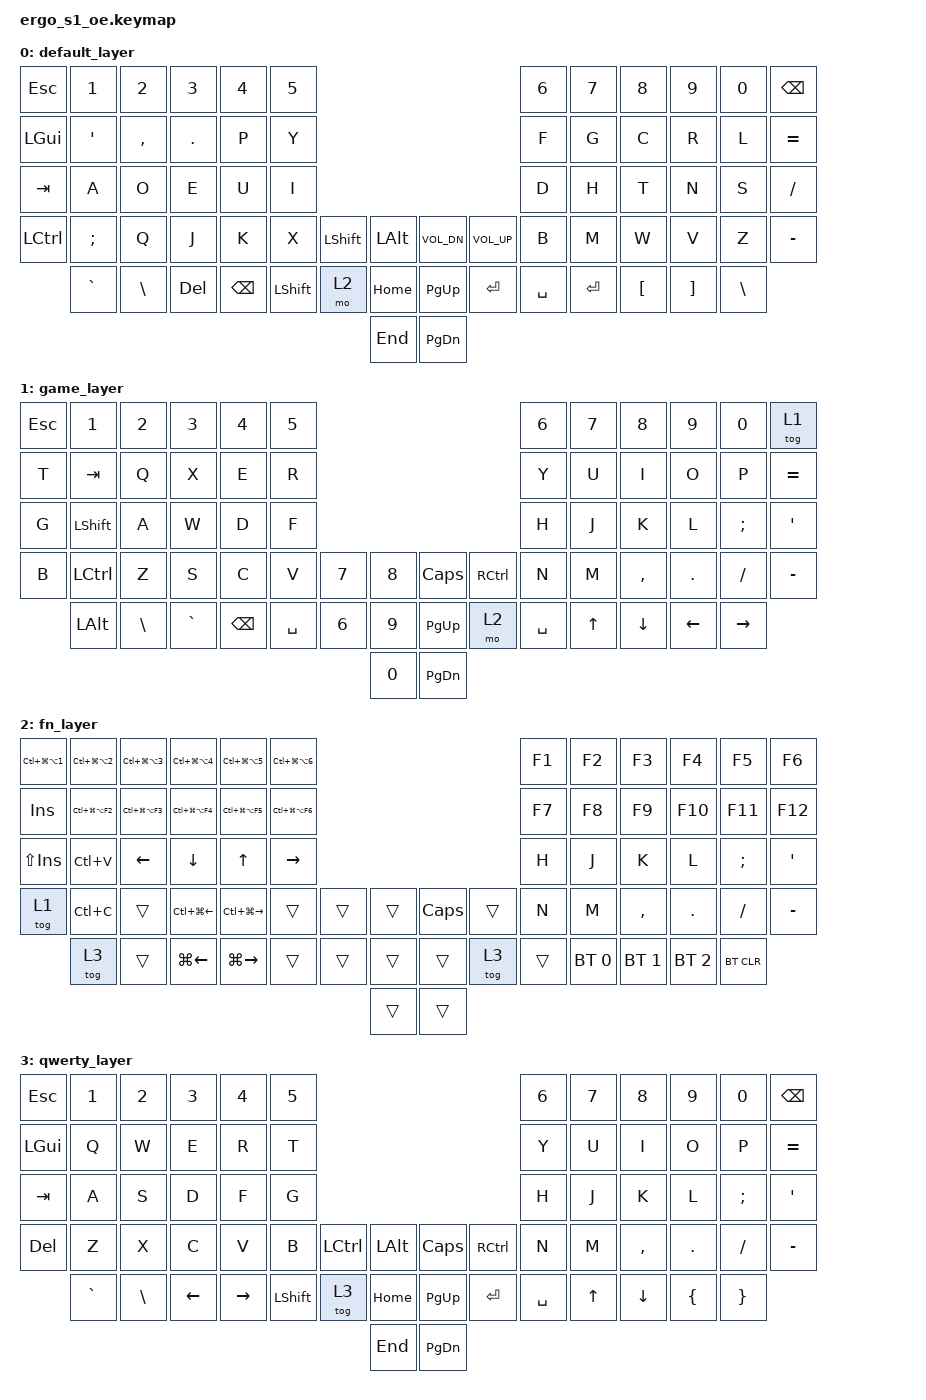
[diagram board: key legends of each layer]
/*
 * Copyright (c) 2020 The ZMK Contributors
 *
 * SPDX-License-Identifier: MIT
 */

#include <behaviors.dtsi>
#include <dt-bindings/zmk/bt.h>
#include <dt-bindings/zmk/keys.h>

#define VIRL LC(LG(LEFT))
#define VIRR LC(LG(RIGHT))
#define WINL LG(LEFT)
#define WINR LG(RIGHT)
#define MON1 LC(LG(LA(N1)))
#define MON2 LC(LG(LA(N2)))
#define MON3 LC(LG(LA(N3)))
#define MON4 LC(LG(LA(N4)))
#define MON5 LC(LG(LA(N5)))
#define MON6 LC(LG(LA(N6)))
#define PMON2 LC(LG(LA(F2)))
#define PMON3 LC(LG(LA(F3)))
#define PMON4 LC(LG(LA(F4)))
#define PMON5 LC(LG(LA(F5)))
#define PMON6 LC(LG(LA(F6)))
#define DEFAULT 0
#define FN  2
#define GAME 1
#define QWERTY 3

/ {
    keymap {
        compatible = "zmk,keymap";

        default_layer {
            // ---------------------------------------------------------------------------------------------------------------------------------
            // | ESC  |  1   |  2   |  3   |  4   |  5   |                                                   |  6   |  7   |  8   |  9   |  0   | BSPC |
            // | WIN  |  Q   |  W   |  E   |  R   |  T   |                                                   |  Y   |  U   |  I   |  O   |  P   | EQL  |
            // | TAB  |  A   |  S   |  D   |  F   |  G   |                                                   |  H   |  J   |  K   |  L   | SCLN | QUOT |
            // | LCTL |  Z   |  X   |  C   |  V   |  B   |      | CTL  | ALT  |         | CAPS | CTL  |      |  N   |  M   | COMM | DOT  | SLSH | MINS |
            //        | GRV  | BSLS | LEFT | RGHT |      | SHFT |  FN  | HOME |         | PGUP | ENT  | SPC  |      |  UP  |  DN  | LBRC | RBRC |
            //                                                         | END  |         | PGDN |

            bindings = <
&kp ESC    &kp N1     &kp N2     &kp N3   &kp N4    &kp N5                                                                           &kp N6  &kp N7     &kp N8    &kp N9    &kp N0    &kp BSPC
&kp LGUI   &kp SQT    &kp COMMA  &kp DOT  &kp P     &kp Y                                                                            &kp F   &kp G      &kp C     &kp R     &kp L     &kp EQUAL
&kp TAB    &kp A      &kp O      &kp E    &kp U     &kp I                                                                            &kp D   &kp H      &kp T     &kp N     &kp S     &kp SLASH
&kp LCTRL  &kp SEMI   &kp Q      &kp J    &kp K     &kp X              &kp LSHFT  &kp LALT    &kp C_VOL_DN  &kp C_VOL_UP             &kp B   &kp M      &kp W     &kp V     &kp Z     &kp MINUS
           &kp GRAVE  &kp BSLH   &kp DEL  &kp BSPC          &kp LSHFT  &mo 2      &kp HOME    &kp PG_UP     &kp ENTER     &kp SPACE          &kp ENTER  &kp LBKT  &kp RBKT  &kp BSLH
                                                                                  &kp END     &kp PG_DN
            >;
        };

        game_layer {
            // ---------------------------------------------------------------------------------------------------------------------------------
            // | ESC  |  1   |  2   |  3   |  4   |  5   |                                                   |  6   |  7   |  8   |  9   |  0   | BSPC |
            // | WIN  |  Q   |  W   |  E   |  R   |  T   |                                                   |  Y   |  U   |  I   |  O   |  P   | EQL  |
            // | TAB  |  A   |  S   |  D   |  F   |  G   |                                                   |  H   |  J   |  K   |  L   | SCLN | QUOT |
            // | LCTL |  Z   |  X   |  C   |  V   |  B   |      | CTL  | ALT  |         | CAPS | CTL  |      |  N   |  M   | COMM | DOT  | SLSH | MINS |
            //        | GRV  | BSLS | LEFT | RGHT |      | SHFT |  FN  | HOME |         | PGUP | ENT  | SPC  |      |  UP  |  DN  | LBRC | RBRC |
            //                                                         | END  |         | PGDN |

            bindings = <
&kp ESC  &kp N1     &kp N2    &kp N3     &kp N4    &kp N5                                                                &kp N6  &kp N7  &kp N8     &kp N9      &kp N0     &tog 1
&kp T    &kp TAB    &kp Q     &kp X      &kp E     &kp R                                                                 &kp Y   &kp U   &kp I      &kp O       &kp P      &kp EQUAL
&kp G    &kp LSHFT  &kp A     &kp W      &kp D     &kp F                                                                 &kp H   &kp J   &kp K      &kp L       &kp SEMI   &kp SQT
&kp B    &kp LCTRL  &kp Z     &kp S      &kp C     &kp V              &kp N7  &kp N8    &kp CAPS   &kp RCTRL             &kp N   &kp M   &kp COMMA  &kp PERIOD  &kp SLASH  &kp MINUS
         &kp LALT   &kp BSLH  &kp GRAVE  &kp BSPC          &kp SPACE  &kp N6  &kp N9    &kp PG_UP  &mo 2      &kp SPACE          &kp UP  &kp DOWN   &kp LEFT    &kp RIGHT
                                                                              &kp N0    &kp PG_DN
            >;
        };

        fn_layer {
            // ---------------------------------------------------------------------------------------------------------------------------------
            // |      |  F1  |  F2  |  F3  |  F4  |  F5  |                                                   |      | NMLK |  =   |  =   |  0   |      |
            // |      |  F6  |  F7  |  F8  |  F9  |  F10 |                                                   |      |  7   |  8   |  9   |  *   |      |
            // |      |      |      |      |      |      |                                                   |      |  4   |  5   |  6   |  +   |      |
            // |      |      |      |      |      | PTSC |      |      |      |         |      |      |      |      |  1   |  2   |  3   | ENT  |      |
            //        |      | INS  |      |      |      |      |  FN  |      |         |      |      |      |      |      |      |  .   | ENT  |
            //                                                         |      |         |      |

            bindings = <
&kp MON1        &kp MON2   &kp MON3   &kp MON4          &kp MON5           &kp MON6                                                       &kp F1  &kp F2        &kp F3        &kp F4        &kp F5      &kp F6
&kp INS         &kp PMON2  &kp PMON3  &kp PMON4         &kp PMON5          &kp PMON6                                                      &kp F7  &kp F8        &kp F9        &kp F10       &kp F11     &kp F12
&kp LS(INSERT)  &kp LC(V)  &kp LEFT   &kp DOWN          &kp UP             &kp RIGHT                                                      &kp H   &kp J         &kp K         &kp L         &kp SEMI    &kp SQT
&tog 1          &kp LC(C)  &trans     &kp LC(LG(LEFT))  &kp LC(LG(RIGHT))  &trans             &trans  &trans    &kp CAPS  &trans          &kp N   &kp M         &kp COMMA     &kp PERIOD    &kp SLASH   &kp MINUS
                &tog 3     &trans     &kp LG(LEFT)      &kp LG(RIGHT)                 &trans  &trans  &trans    &trans    &tog 3  &trans          &bt BT_SEL 0  &bt BT_SEL 1  &bt BT_SEL 2  &bt BT_CLR
                                                                                                      &trans    &trans
            >;
        };

        qwerty_layer {
            // --------------------------------------------------------------------------------------------------------------------------------
            // | ESC  |  1   |  2   |  3   |  4   |  5   |                                                   |  6   |  7   |  8   |  9   |  0   | BSPC |
            // | WIN  |  Q   |  W   |  E   |  R   |  T   |                                                   |  Y   |  U   |  I   |  O   |  P   | EQL  |
            // | TAB  |  A   |  S   |  D   |  F   |  G   |                                                   |  H   |  J   |  K   |  L   | SCLN | QUOT |
            // | LCTL |  Z   |  X   |  C   |  V   |  B   |      | CTL  | ALT  |         | CAPS | CTL  |      |  N   |  M   | COMM | DOT  | SLSH | MINS |
            //        | GRV  | BSLS | LEFT | RGHT |      | SHFT |  FN  | HOME |         | PGUP | ENT  | SPC  |      |  UP  |  DN  | LBRC | RBRC |
            //                                                         | END  |         | PGDN |

            bindings = <
&kp ESC   &kp N1     &kp N2    &kp N3    &kp N4     &kp N5                                                                     &kp N6  &kp N7  &kp N8     &kp N9      &kp N0     &kp BACKSPACE
&kp LGUI  &kp Q      &kp W     &kp E     &kp R      &kp T                                                                      &kp Y   &kp U   &kp I      &kp O       &kp P      &kp EQUAL
&kp TAB   &kp A      &kp S     &kp D     &kp F      &kp G                                                                      &kp H   &kp J   &kp K      &kp L       &kp SEMI   &kp SQT
&kp DEL   &kp Z      &kp X     &kp C     &kp V      &kp B              &kp LCTRL  &kp LALT    &kp CAPS   &kp RCTRL             &kp N   &kp M   &kp COMMA  &kp PERIOD  &kp SLASH  &kp MINUS
          &kp GRAVE  &kp BSLH  &kp LEFT  &kp RIGHT          &kp LSHFT  &tog 3     &kp HOME    &kp PG_UP  &kp ENTER  &kp SPACE          &kp UP  &kp DOWN   &kp LBRC    &kp RBRC
                                                                                  &kp END     &kp PG_DN
            >;
        };

        //               fn_layer {
        // // ---------------------------------------------------------------------------------------------------------------------------------
        // // |      |  F1  |  F2  |  F3  |  F4  |  F5  |                                                   |      | NMLK |  =   |  =   |  0   |      |
        // // |      |  F6  |  F7  |  F8  |  F9  |  F10 |                                                   |      |  7   |  8   |  9   |  *   |      |
        // // |      |      |      |      |      |      |                                                   |      |  4   |  5   |  6   |  +   |      |
        // // |      |      |      |      |      | PTSC |      |      |      |         |      |      |      |      |  1   |  2   |  3   | ENT  |      |
        // //        |      | INS  |      |      |      |      |  FN  |      |         |      |      |      |      |      |      |  .   | ENT  |
        // //                                                         |      |         |      |
        //                      bindings = <
        //        &bt BT_CLR &kp F1  &kp F2   &kp F3   &kp F4    &kp F5                                                                    &kp N6    &kp N7    &kp N8    &kp N9     &kp N0    &kp BSPC
        //        &trans     &kp F6  &kp F7   &kp F8   &kp F9    &kp F10                                                                   &kp Y     &kp U     &kp I     &kp O      &kp P     &kp EQUAL
        //        &trans     &trans  &trans   &trans   &trans    &trans                                                                    &kp H     &kp J     &kp K     &kp L      &kp SEMI  &kp SQT
        //        &trans     &trans  &trans   &trans   &trans    &trans              &trans    &trans        &trans    &trans              &kp N     &kp M     &kp COMMA &kp PERIOD &kp SLASH &kp MINUS
        //                   &trans  &trans   &trans   &trans              &trans    &trans    &trans        &trans    &trans    &trans              &kp UP    &kp DOWN  &kp LBRC   &kp RBRC
        //                                                                                     &trans        &trans    
        //                      >;
        //               };
        //               qwerty_layer {
        // // ---------------------------------------------------------------------------------------------------------------------------------
        // // | ESC  |  1   |  2   |  3   |  4   |  5   |                                                   |  6   |  7   |  8   |  9   |  0   | BSPC |
        // // | WIN  |  Q   |  W   |  E   |  R   |  T   |                                                   |  Y   |  U   |  I   |  O   |  P   | EQL  |
        // // | TAB  |  A   |  S   |  D   |  F   |  G   |                                                   |  H   |  J   |  K   |  L   | SCLN | QUOT |
        // // | LCTL |  Z   |  X   |  C   |  V   |  B   |      | CTL  | ALT  |         | CAPS | CTL  |      |  N   |  M   | COMM | DOT  | SLSH | MINS |
        // //        | GRV  | BSLS | LEFT | RGHT |      | SHFT |  FN  | HOME |         | PGUP | ENT  | SPC  |      |  UP  |  DN  | LBRC | RBRC |
        // //                                                         | END  |         | PGDN |
        //                      bindings = <
        //        &kp ESC    &kp N1  &kp N2   &kp N3   &kp N4    &kp N5                                                                    &kp N6    &kp N7    &kp N8    &kp N9     &kp N0    &kp BSPC
        //        &kp LGUI   &kp Q   &kp W    &kp E    &kp R     &kp T                                                                     &kp Y     &kp U     &kp I     &kp O      &kp P     &kp EQUAL
        //        &kp TAB    &kp A   &kp S    &kp D    &kp F     &kp G                                                                     &kp H     &kp J     &kp K     &kp L      &kp SEMI  &kp SQT
        //        &kp DEL    &kp Z   &kp X    &kp C    &kp V     &kp B               &kp LCTRL &kp LALT      &kp CAPS  &kp RCTRL           &kp N     &kp M     &kp COMMA &kp PERIOD &kp SLASH &kp MINUS
        //                   &kp GRAVE &kp BSLH &kp LEFT &kp RIGHT         &kp LSHFT &mo 1     &kp HOME      &kp PG_UP &kp ENTER &kp SPACE           &kp UP    &kp DOWN  &kp LBRC   &kp RBRC
        //                                                                                     &kp END       &kp PG_DN 
        //                      >;
        //               };
    };
};
